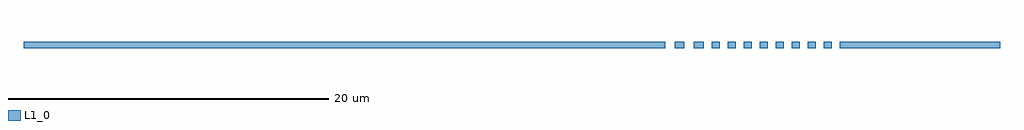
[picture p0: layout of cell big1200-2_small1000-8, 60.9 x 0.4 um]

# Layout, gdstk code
import gdstk
lib = gdstk.Library(unit=1e-6, precision=1e-09)
def R(c, l, rs):  # rectangles x0, y0, x1, y1
    for r in rs: c.add(gdstk.rectangle(r[:2], r[2:], *l))
def A(c, l, x, y, w, h, nx, ny, dx, dy):  # array of equal rectangles
    R(c, l, [(x+i*dx, y+j*dy, x+i*dx+w, y+j*dy+h) for i in range(nx) for j in range(ny)])
L1_0 = (1, 0)

big1200_2_small1000_8 = lib.new_cell('big1200-2_small1000-8')
A(big1200_2_small1000_8, L1_0, 2.9, 0, 0.5, 0.4, 8, 1, 1, 0)
R(big1200_2_small1000_8, L1_0, [(-40,0,0,0.4), (0.6,0,1.2,0.4), (1.8,0,2.4,0.4), (10.9,0,20.9,0.4)])

lib.write_gds('big1200-2_small1000-8.gds')
